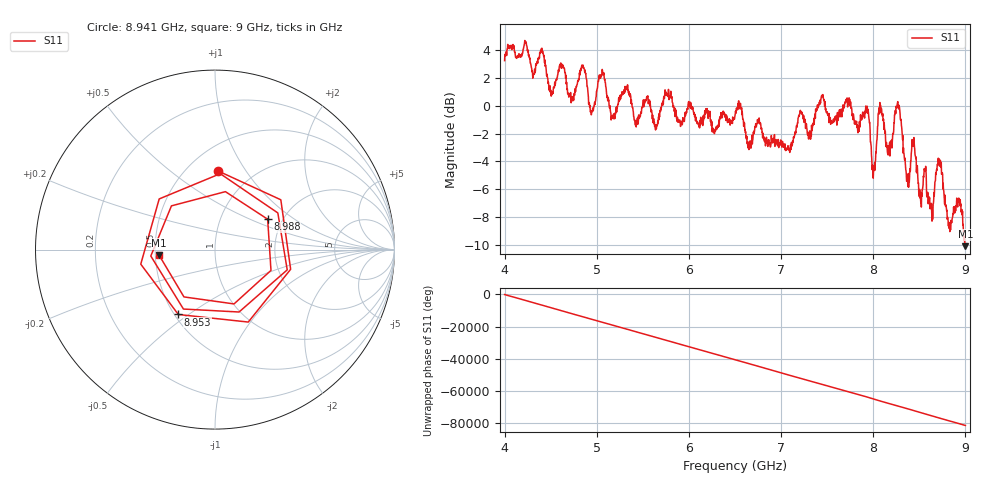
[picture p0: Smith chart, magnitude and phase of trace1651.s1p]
! Created with skrf 1.8.0 (http://scikit-rf.org).
# Hz S RI R 50.0
!freq ReS11 ImS11
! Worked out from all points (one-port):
!   1601 points, 4 GHz to 9 GHz, reference 50 ohm
!   lowest |S11| = -10.1 dB at 9 GHz (marker M1), VSWR 1.91, Z = 26.2 - j1.79 ohm
!   |S11| at or under -10 dB: 8.996483 GHz to end of sweep
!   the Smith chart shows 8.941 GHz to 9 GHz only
!   S11 on the Smith chart (normalised r, x): 8.941 GHz: 0.69, +0.76; 8.953 GHz: 0.52, -0.46; 8.988 GHz: 1.68, +0.64; 9 GHz: 0.52, -0.04
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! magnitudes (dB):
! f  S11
! 4 GHz  3.2
! 4.406 GHz  4.1
! 4.506 GHz  0.7
! 4.625 GHz  2.9
! 4.725 GHz  0.7
! 4.856 GHz  2.8
! 4.947 GHz  -0.4
! 5.053 GHz  2.1
! 5.172 GHz  -0.9
! 5.25 GHz  0.6
! 5.875 GHz  -0.8
! 6.5 GHz  -0.7
! 7.125 GHz  -2.5
! 7.75 GHz  0.1
! 7.938 GHz  -0.5
! 8.006 GHz  -4.7
! 8.072 GHz  0.2
! 8.172 GHz  -3.0
! 8.266 GHz  0.3
! 8.375 GHz  -5.8
! 8.438 GHz  -2.9
! 8.622 GHz  -7.2
! 8.712 GHz  -3.8
! 8.828 GHz  -8.4
! 8.941 GHz  -7.1
! 8.953 GHz  -7.6
! 8.988 GHz  -9.4
! 9 GHz  -10.1
